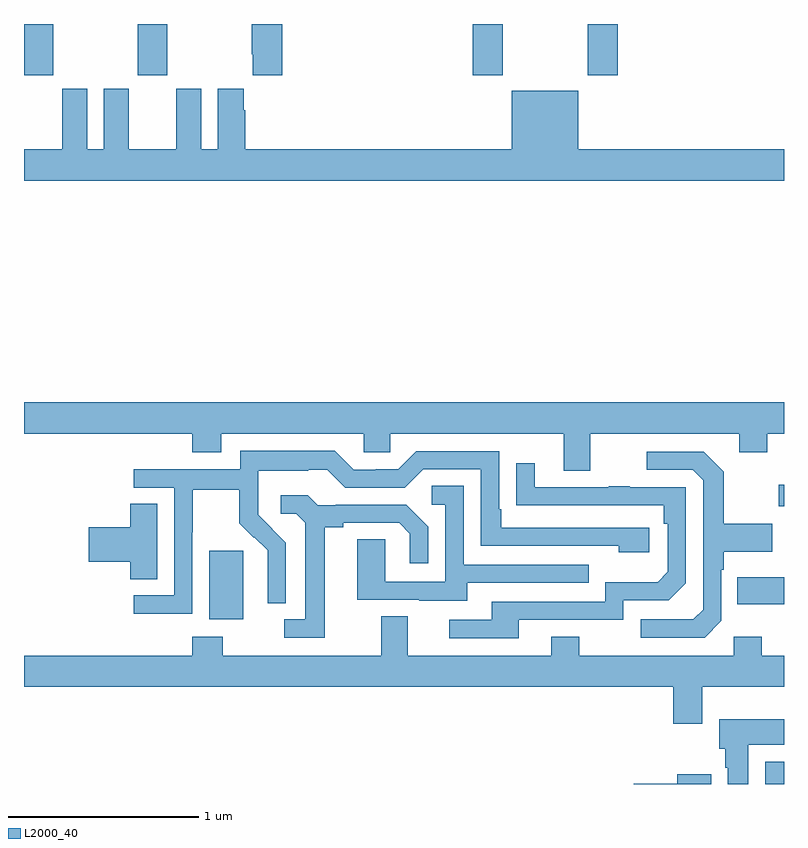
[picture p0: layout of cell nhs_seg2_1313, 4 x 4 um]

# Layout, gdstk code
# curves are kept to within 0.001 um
import gdstk
lib = gdstk.Library(unit=1e-6, precision=1e-09)
def R(c, l, rs):  # rectangles x0, y0, x1, y1
    for r in rs: c.add(gdstk.rectangle(r[:2], r[2:], *l))
def P(c, l, *ps):  # polygons
    for p in ps: c.add(gdstk.Polygon(p, *l))
L2000_40 = (2000, 40)

nhs_seg2_1313 = lib.new_cell('nhs_seg2_1313')
R(nhs_seg2_1313, L2000_40, [(182.9,637.8,183,637.918), (179.975,638.666,180.154,639.027), (182.755,638.747,183,638.887), (182.973,639.263,183,639.376), (179,641.529,179.154,641.8), (179.599,641.529,179.754,641.8), (181.361,641.529,181.521,641.8), (181.966,641.529,182.126,641.8)])
P(nhs_seg2_1313, L2000_40, [(180.359,641.8),(180.199,641.8),(180.199,641.641),(180.203,641.641),(180.203,641.529),(180.359,641.529)],
  [(183,641.14),(181.918,641.14),(181.918,641.449),(181.568,641.449),(181.568,641.14),(180.164,641.14),(180.164,641.345),(180.157,641.345),(180.157,641.458),(180.02,641.458),(180.02,641.14),(179.932,641.14),(179.932,641.458),(179.801,641.458),(179.801,641.14),(179.551,641.14),(179.551,641.458),(179.42,641.458),(179.42,641.14),(179.332,641.14),(179.332,641.458),(179.201,641.458),(179.201,641.14),(179,641.14),(179,640.976),(183,640.976)],
  [(181.981,639.644),(182.765,639.644),(182.765,639.545),(182.913,639.545),(182.913,639.644),(183,639.644),(183,639.808),(179,639.808),(179,639.644),(179.885,639.644),(179.885,639.545),(180.037,639.545),(180.037,639.644),(180.789,639.644),(180.789,639.546),(180.927,639.546),(180.927,639.644),(181.841,639.644),(181.841,639.45),(181.981,639.45)],
  [(179.886,639.124),(179.889,639.124),(179.889,639.348),(180.133,639.348),(180.133,639.173),(180.21,639.096),(180.213,639.099),(180.284,639.029),(180.284,638.906),(180.282,638.906),(180.282,638.752),(180.378,638.752),(180.378,639.07),(180.232,639.218),(180.232,639.315),(180.234,639.315),(180.234,639.449),(180.497,639.449),(180.497,639.453),(180.597,639.453),(180.69,639.36),(181.005,639.36),(181.101,639.456),(181.404,639.456),(181.404,639.054),(182.129,639.054),(182.129,639.02),(182.29,639.02),(182.29,639.15),(181.513,639.15),(181.513,639.247),(181.5,639.247),(181.5,639.552),(181.065,639.552),(180.969,639.456),(180.851,639.456),(180.851,639.453),(180.735,639.453),(180.635,639.553),(180.138,639.553),(180.138,639.456),(179.577,639.456),(179.577,639.36),(179.79,639.36),(179.79,638.793),(179.577,638.793),(179.577,638.695),(179.886,638.695)],
  [(182.67,638.658),(182.67,638.927),(182.683,638.927),(182.683,639.023),(182.939,639.023),(182.939,639.171),(182.683,639.171),(182.683,639.443),(182.577,639.549),(182.277,639.549),(182.277,639.453),(182.52,639.453),(182.574,639.399),(182.574,638.718),(182.523,638.667),(182.247,638.667),(182.247,638.571),(182.583,638.571)],
  [(181.603,638.664),(182.154,638.664),(182.154,638.766),(182.394,638.766),(182.484,638.856),(182.484,639.363),(182.189,639.363),(182.189,639.368),(182.077,639.368),(182.077,639.363),(181.687,639.363),(181.687,639.487),(181.591,639.487),(181.591,639.268),(182.368,639.267),(182.368,639.17),(182.388,639.17),(182.388,638.916),(182.335,638.863),(182.058,638.863),(182.058,638.76),(181.463,638.76),(181.463,638.664),(181.239,638.664),(181.239,638.568),(181.603,638.568)],
  [(181.333,638.859),(181.973,638.859),(181.973,638.955),(181.314,638.955),(181.314,639.371),(181.146,639.371),(181.146,639.27),(181.218,639.27),(181.218,638.865),(180.9,638.865),(180.9,639.089),(180.755,639.089),(180.755,638.769),(181.079,638.769),(181.079,638.765),(181.333,638.765)],
  [(180.583,639.152),(180.679,639.152),(180.679,639.174),(180.974,639.174),(181.031,639.117),(181.031,638.961),(181.128,638.961),(181.128,639.154),(181.012,639.27),(180.64,639.27),(180.64,639.267),(180.546,639.267),(180.494,639.319),(180.351,639.319),(180.351,639.222),(180.432,639.222),(180.479,639.175),(180.479,638.667),(180.369,638.667),(180.369,638.571),(180.583,638.571)],
  [(179.701,639.275),(179.558,639.275),(179.558,639.152),(179.34,639.152),(179.34,638.969),(179.558,638.969),(179.558,638.878),(179.701,638.878)],
  [(182.569,638.312),(183,638.312),(183,638.476),(182.883,638.476),(182.883,638.575),(182.736,638.575),(182.736,638.476),(181.923,638.476),(181.923,638.575),(181.775,638.575),(181.775,638.476),(181.021,638.476),(181.021,638.684),(180.881,638.684),(180.881,638.476),(180.045,638.476),(180.045,638.575),(179.885,638.575),(179.885,638.476),(179,638.476),(179,638.312),(182.417,638.312),(182.417,638.118),(182.569,638.118)],
  [(182.812,638.006),(183,638.006),(183,638.14),(182.66,638.14),(182.66,637.986),(182.69,637.986),(182.69,637.886),(182.705,637.886),(182.705,637.8),(182.812,637.8)],
  [(182.617,637.852),(182.438,637.852),(182.438,637.802),(182.208,637.802),(182.208,637.8),(182.617,637.8)])

lib.write_gds('nhs_seg2_1313.gds')
